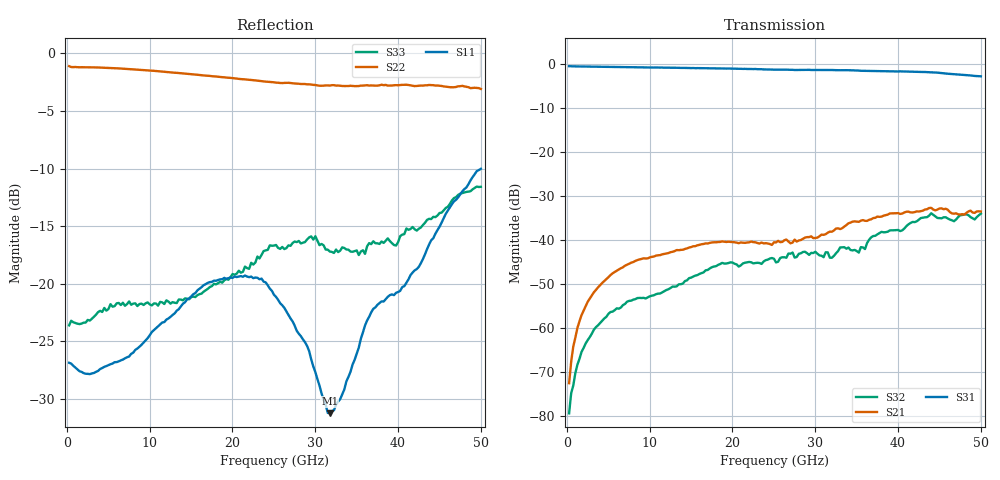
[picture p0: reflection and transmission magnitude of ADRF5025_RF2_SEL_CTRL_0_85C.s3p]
! Device:  ADRF5025
! Description: Silicon SPDT Switch, Reflective
! Frequency:  9kHz -  44.00 GHz
! Ports:
!  RFC = Port 1
!  RF1 = Port 2
!  RF2 = Port 3
! VDD  =  +3.30 Volts
! VSS  =  -3.30 Volts
! CTRL  =  +0.00 Volts
! Data:  Data was collected using an calibrated 4 port network analyzer
!  using G-S-G Probes on Probe Matrix Board.
!  The reference plane is the package pins of ADRF5025 switch.
! Notes: Analog Devices supplies this data as a sample of measured data
!  for this product.  Your particular data for this product may vary.
!  Data was taken at 85 degrees C.
!  Analog Devices reserves the right to change this data at anytime.
# GHz S  dB  R 50
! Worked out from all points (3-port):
!   200 points, 260 MHz to 50.01 GHz, reference 50 ohm
!   strongest paths, dB at 260 MHz, 12.76 GHz, 25.26 GHz, 37.76 GHz, 50.01 GHz:
!     S31: -0.6, -0.9, -1.4, -1.7, -2.9
!     S21: -72.6, -42.8, -40.6, -34.8, -33.6
!     S32: -79.4, -50.7, -45.2, -38.5, -34.1
!   lowest |S11| = -31.2 dB at 31.76 GHz (marker M1), VSWR 1.06, Z = 51.9 - j2.08 ohm
!   |S11| at or under -10 dB: start of sweep to end of sweep
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0.26  -26.85 -5.0  -72.69 60.6  -0.57 -2.6
      -72.60 59.6  -1.12 177.8  -77.34 42.6
      -0.59 -2.6  -79.44 41.2  -23.60 -3.7
1.26  -27.42 -24.5  -60.03 75.2  -0.63 -11.8
      -60.06 75.5  -1.20 170.5  -68.70 69.3
      -0.65 -11.7  -68.41 66.9  -23.46 -26.5
3.01  -27.77 -60.5  -52.61 66.0  -0.71 -27.7
      -52.63 66.0  -1.23 157.9  -61.10 62.3
      -0.70 -27.6  -61.34 61.8  -23.03 -62.3
11.26  -23.52 -174.9  -43.47 11.7  -0.91 -101.8
       -43.51 11.5  -1.56 97.1  -52.20 11.1
       -0.91 -101.9  -52.23 11.6  -21.56 -166.7
18.26  -19.66 135.3  -40.51 -42.7  -1.03 -165.1
       -40.54 -42.5  -2.03 43.6  -45.74 -56.2
       -1.09 -165.2  -45.73 -56.4  -19.94 128.5
25.26  -21.13 77.9  -40.59 -112.7  -1.33 130.9
       -40.62 -112.8  -2.54 -13.0  -45.17 -169.1
       -1.39 131.2  -45.17 -168.7  -16.63 69.3
31.76  -31.23 -47.0  -38.24 -175.3  -1.53 71.7
       -38.17 -175.8  -2.80 -66.8  -44.11 107.2
       -1.46 71.7  -44.09 108.9  -17.20 29.9
40.26  -20.61 -167.8  -34.21 99.9  -1.77 -9.0
       -34.15 99.6  -2.75 -140.2  -38.01 51.9
       -1.77 -9.1  -38.05 51.0  -15.86 -21.2
45.26  -14.70 179.3  -32.93 55.6  -2.12 -59.9
       -32.88 55.1  -2.83 177.7  -35.03 2.2
       -2.17 -60.3  -35.16 2.8  -13.82 -107.2
50.01  -10.02 147.8  -33.78 20.7  -2.93 -108.3
       -33.59 20.8  -3.10 142.8  -34.14 -35.8
       -2.89 -108.3  -34.10 -34.6  -11.58 173.8
